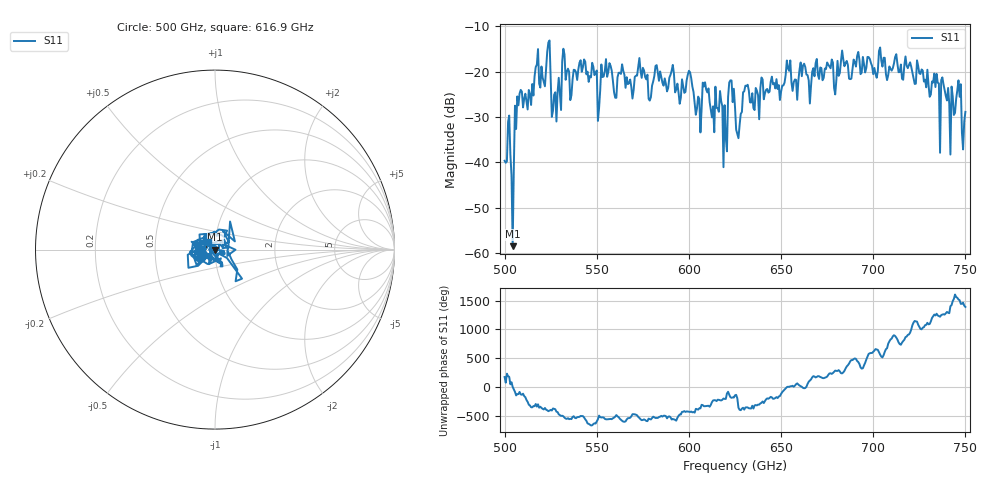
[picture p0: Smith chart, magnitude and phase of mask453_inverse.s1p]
!Created with skrf (http://scikit-rf.org).
# GHz S MA R 50.0
!freq magS11 angS11
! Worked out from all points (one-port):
!   401 points, 500 GHz to 750 GHz, reference 50 ohm
!   lowest |S11| = -58.5 dB at 504.4 GHz (marker M1), VSWR 1.00, Z = 50.1 + j0.00733 ohm
!   |S11| at or under -10 dB: start of sweep to end of sweep
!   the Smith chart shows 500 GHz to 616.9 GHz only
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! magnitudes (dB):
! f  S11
! 500 GHz  -39.7
! 501.9 GHz  -31.1
! 504.4 GHz  -58.5
! 508.1 GHz  -24.8
! 523.8 GHz  -13.5
! 526.9 GHz  -25.1
! 531.2 GHz  -17.7
! 548.8 GHz  -20.7
! 550.6 GHz  -30.9
! 562.5 GHz  -20.2
! 590.6 GHz  -19.8
! 593.8 GHz  -22.6
! 600 GHz  -19.8
! 605 GHz  -25.5
! 608.8 GHz  -22.3
! 612.5 GHz  -30.1
! 616.9 GHz  -24.3
! 619.4 GHz  -27.4
! 622.5 GHz  -21.9
! 625 GHz  -27.8
! 626.9 GHz  -34.7
! 630.6 GHz  -23.1
! 656.2 GHz  -24.2
! 687.5 GHz  -21.6
! 718.8 GHz  -19.2
! 743.1 GHz  -25.4
! 746.2 GHz  -21.9
! 750 GHz  -28.9
